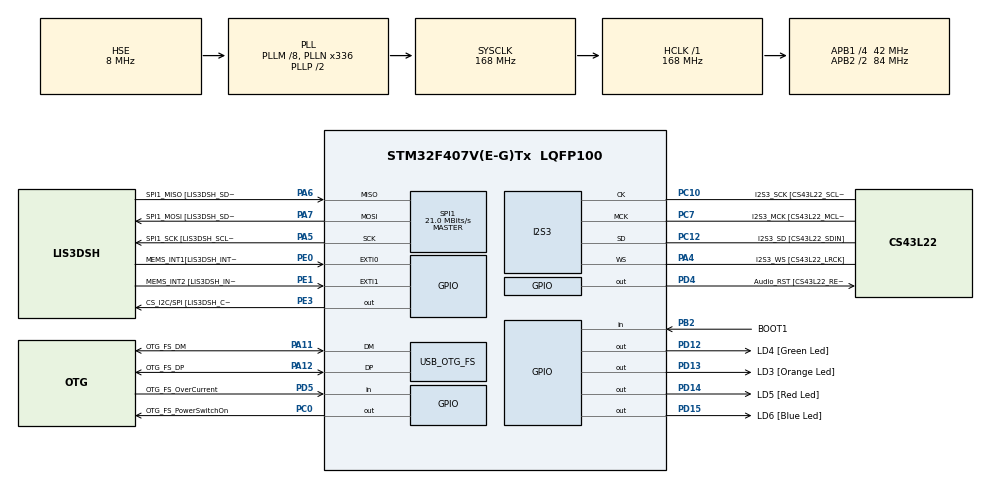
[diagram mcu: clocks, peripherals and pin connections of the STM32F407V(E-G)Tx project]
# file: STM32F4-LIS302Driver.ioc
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I2S3.AudioFreq-Half_Duplex_Master=I2S_AUDIOFREQ_96K
I2S3.ErrorAudioFreq=-2.34 %
I2S3.ErrorAudioFreq-Half_Duplex_Master=0.8 %
I2S3.FullDuplexMode=I2S_FULLDUPLEXMODE_DISABLE
I2S3.Instance=SPI$Index
I2S3.RealAudioFreq=93.75 KHz
I2S3.RealAudioFreq-Half_Duplex_Master=96.774 KHz
I2S3.VirtualMode=I2S_MODE_MASTER
Mcu.Family=STM32F4
Mcu.Name=STM32F407V(E-G)Tx
Mcu.Package=LQFP100
NVIC.PriorityGroup=NVIC_PRIORITYGROUP_0
NVIC.SPI1_IRQn=true\:0\:0\:false\:false\:true\:true\:true\:true
PA10.GPIO_Label=OTG_FS_ID
PA10.GPIO_Mode=GPIO_MODE_AF_PP
PA10.GPIO_PuPd=GPIO_NOPULL
PA10.GPIO_Speed=GPIO_SPEED_FREQ_LOW
PA10.Signal=USB_OTG_FS_ID
PA11.GPIO_Label=OTG_FS_DM
PA11.GPIO_Mode=GPIO_MODE_AF_PP
PA11.GPIO_PuPd=GPIO_NOPULL
PA11.GPIO_Speed=GPIO_SPEED_FREQ_LOW
PA11.Mode=Host_Only
PA11.Signal=USB_OTG_FS_DM
PA12.GPIO_Label=OTG_FS_DP
PA12.GPIO_Mode=GPIO_MODE_AF_PP
PA12.GPIO_PuPd=GPIO_NOPULL
PA12.GPIO_Speed=GPIO_SPEED_FREQ_LOW
PA12.Mode=Host_Only
PA12.Signal=USB_OTG_FS_DP
PA13.GPIO_Label=SWDIO
PA13.Mode=Serial_Wire
PA13.Signal=SYS_JTMS-SWDIO
PA14.GPIO_Label=SWCLK
PA14.Mode=Serial_Wire
PA14.Signal=SYS_JTCK-SWCLK
PA4.GPIO_Label=I2S3_WS [CS43L22_LRCK]
PA4.GPIO_Mode=GPIO_MODE_AF_PP
PA4.GPIO_PuPd=GPIO_NOPULL
PA4.GPIO_Speed=GPIO_SPEED_FREQ_LOW
PA4.Mode=Half_Duplex_Master
PA4.Signal=I2S3_WS
PA5.GPIO_Label=SPI1_SCK [LIS3DSH_SCL/SPC]
PA5.GPIO_Mode=GPIO_MODE_AF_PP
PA5.GPIO_PuPd=GPIO_NOPULL
PA5.GPIO_Speed=GPIO_SPEED_FREQ_LOW
PA5.Mode=Full_Duplex_Master
PA5.Signal=SPI1_SCK
PA6.GPIO_Label=SPI1_MISO [LIS3DSH_SDO]
PA6.GPIO_Mode=GPIO_MODE_AF_PP
PA6.GPIO_PuPd=GPIO_NOPULL
PA6.GPIO_Speed=GPIO_SPEED_FREQ_LOW
PA6.Mode=Full_Duplex_Master
PA6.Signal=SPI1_MISO
PA7.GPIO_Label=SPI1_MOSI [LIS3DSH_SDA/SDI/SDO]
PA7.GPIO_Mode=GPIO_MODE_AF_PP
PA7.GPIO_PuPd=GPIO_NOPULL
PA7.GPIO_Speed=GPIO_SPEED_FREQ_LOW
PA7.Mode=Full_Duplex_Master
PA7.Signal=SPI1_MOSI
PA9.GPIO_Label=VBUS_FS
PA9.GPIO_Mode=GPIO_MODE_INPUT
PA9.GPIO_PuPd=GPIO_NOPULL
PA9.Signal=USB_OTG_FS_VBUS
PB10.GPIO_Label=CLK_IN [MP45DT02_CLK]
PB10.GPIO_Mode=GPIO_MODE_AF_PP
PB10.GPIO_PuPd=GPIO_NOPULL
PB10.GPIO_Speed=GPIO_SPEED_FREQ_LOW
PB10.Signal=I2S2_CK
PB2.GPIO_Label=BOOT1
PB2.GPIO_Mode=GPIO_MODE_INPUT
PB2.GPIO_PuPd=GPIO_NOPULL
PB2.Signal=GPIO_Input
PB3.GPIO_Label=SWO
PB3.Signal=SYS_JTDO-SWO
PB6.GPIO_Mode=GPIO_MODE_AF_OD
PB6.GPIO_Pu=GPIO_NOPULL
PB6.GPIO_PuPd=GPIO_NOPULL
PB6.GPIO_Speed=GPIO_SPEED_FREQ_VERY_HIGH
PB6.Signal=I2C1_SCL
PB9.GPIO_Mode=GPIO_MODE_AF_OD
PB9.GPIO_Pu=GPIO_NOPULL
PB9.GPIO_PuPd=GPIO_NOPULL
PB9.GPIO_Speed=GPIO_SPEED_FREQ_VERY_HIGH
PB9.Signal=I2C1_SDA
PC0.GPIO_Label=OTG_FS_PowerSwitchOn
PC0.GPIO_PuPd=GPIO_NOPULL
PC0.GPIO_Speed=GPIO_SPEED_FREQ_LOW
PC0.PinState=GPIO_PIN_SET
PC0.Signal=GPIO_Output
PC10.GPIO_Label=I2S3_SCK [CS43L22_SCLK]
PC10.GPIO_Mode=GPIO_MODE_AF_PP
PC10.GPIO_PuPd=GPIO_NOPULL
PC10.GPIO_Speed=GPIO_SPEED_FREQ_LOW
PC10.Mode=Half_Duplex_Master
PC10.Signal=I2S3_CK
PC12.GPIO_Label=I2S3_SD [CS43L22_SDIN]
PC12.GPIO_Mode=GPIO_MODE_AF_PP
PC12.GPIO_PuPd=GPIO_NOPULL
PC12.GPIO_Speed=GPIO_SPEED_FREQ_LOW
PC12.Mode=Half_Duplex_Master
PC12.Signal=I2S3_SD
PC14-OSC32_IN.GPIO_Label=PC14-OSC32_IN
PC14-OSC32_IN.Mode=LSE-External-Oscillator
PC14-OSC32_IN.Signal=RCC_OSC32_IN
PC15-OSC32_OUT.GPIO_Label=PC15-OSC32_OUT
PC15-OSC32_OUT.Mode=LSE-External-Oscillator
PC15-OSC32_OUT.Signal=RCC_OSC32_OUT
PC3.GPIO_Label=PDM_OUT [MP45DT02_DOUT]
PC3.GPIO_Mode=GPIO_MODE_AF_PP
PC3.GPIO_PuPd=GPIO_NOPULL
PC3.GPIO_Speed=GPIO_SPEED_FREQ_LOW
PC3.Signal=I2S2_SD
PC7.GPIO_Label=I2S3_MCK [CS43L22_MCLK]
PC7.GPIO_Mode=GPIO_MODE_AF_PP
PC7.GPIO_PuPd=GPIO_NOPULL
PC7.GPIO_Speed=GPIO_SPEED_FREQ_LOW
PC7.Mode=Master_Clock_Activated
PC7.Signal=I2S3_MCK
PD12.GPIO_Label=LD4 [Green Led]
PD12.GPIO_PuPd=GPIO_NOPULL
PD12.GPIO_Speed=GPIO_SPEED_FREQ_LOW
PD12.Signal=GPIO_Output
PD13.GPIO_Label=LD3 [Orange Led]
PD13.GPIO_PuPd=GPIO_NOPULL
PD13.GPIO_Speed=GPIO_SPEED_FREQ_LOW
PD13.Signal=GPIO_Output
PD14.GPIO_Label=LD5 [Red Led]
PD14.GPIO_PuPd=GPIO_NOPULL
PD14.GPIO_Speed=GPIO_SPEED_FREQ_LOW
PD14.Signal=GPIO_Output
PD15.GPIO_Label=LD6 [Blue Led]
PD15.GPIO_PuPd=GPIO_NOPULL
PD15.GPIO_Speed=GPIO_SPEED_FREQ_LOW
PD15.Signal=GPIO_Output
PD4.GPIO_Label=Audio_RST [CS43L22_RESET]
PD4.GPIO_PuPd=GPIO_NOPULL
PD4.GPIO_Speed=GPIO_SPEED_FREQ_LOW
PD4.Signal=GPIO_Output
PD5.GPIO_Label=OTG_FS_OverCurrent
PD5.GPIO_Mode=GPIO_MODE_INPUT
PD5.GPIO_PuPd=GPIO_NOPULL
PD5.Signal=GPIO_Input
PE0.GPIO_Label=MEMS_INT1[LIS3DSH_INT1]
PE0.Signal=GPXTI0
PE1.GPIO_Label=MEMS_INT2 [LIS3DSH_INT2]
PE1.GPIO_ModeDefaultEXTI=GPIO_MODE_EVT_RISING
PE1.GPIO_PuPd=GPIO_NOPULL
PE1.Signal=GPXTI1
PE3.GPIO_Label=CS_I2C/SPI [LIS3DSH_CS_I2C/SPI]
PE3.GPIO_PuPd=GPIO_NOPULL
PE3.GPIO_Speed=GPIO_SPEED_FREQ_LOW
PE3.Signal=GPIO_Output
PH0-OSC_IN.GPIO_Label=PH0-OSC_IN
PH0-OSC_IN.Mode=HSE-External-Oscillator
PH0-OSC_IN.Signal=RCC_OSC_IN
PH1-OSC_OUT.GPIO_Label=PH1-OSC_OUT
PH1-OSC_OUT.Mode=HSE-External-Oscillator
PH1-OSC_OUT.Signal=RCC_OSC_OUT
ProjectManager.HeapSize=0x200
ProjectManager.StackSize=0x400
ProjectManager.TargetToolchain=STM32CubeIDE
RCC.48MHZClocksFreq_Value=48000000
RCC.AHBFreq_Value=168000000
RCC.APB1CLKDivider=RCC_HCLK_DIV4
RCC.APB1Freq_Value=42000000
RCC.APB1TimFreq_Value=84000000
RCC.APB2CLKDivider=RCC_HCLK_DIV2
RCC.APB2Freq_Value=84000000
RCC.APB2TimFreq_Value=168000000
RCC.CortexFreq_Value=168000000
RCC.HCLKFreq_Value=168000000
RCC.HSE_VALUE=8000000
RCC.HSI_VALUE=16000000
RCC.PLLM=8
RCC.PLLN=336
RCC.PLLQ=7
RCC.SYSCLKFreq_VALUE=168000000
RCC.SYSCLKSource=RCC_SYSCLKSOURCE_PLLCLK
RCC.VCOOutputFreq_Value=336000000
SPI1.BaudRatePrescaler=SPI_BAUDRATEPRESCALER_4
SPI1.BaudRatePrescaler-Full_Duplex_Master=SPI_BAUDRATEPRESCALER_2
SPI1.CalculateBaudRate=21.0 MBits/s
SPI1.CalculateBaudRate-Full_Duplex_Master=42.0 MBits/s
SPI1.Direction=SPI_DIRECTION_2LINES
SPI1.Mode=SPI_MODE_MASTER
SPI1.Mode-Full_Duplex_Master=SPI_MODE_MASTER
SPI1.VirtualType=VM_MASTER
USB_OTG_FS.VirtualMode=Host_Only
USB_OTG_FS.phy_itface=HCD_PHY_EMBEDDED
board=STM32F407G-DISC1

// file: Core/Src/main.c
/* USER CODE BEGIN Header */
/**
  ******************************************************************************
  * @file           : main.c
  * @brief          : Main program body
  ******************************************************************************
  * @attention
  *
  * Copyright (c) 2024 STMicroelectronics.
  * All rights reserved.
  *
  * This software is licensed under terms that can be found in the LICENSE file
  * in the root directory of this software component.
  * If no LICENSE file comes with this software, it is provided AS-IS.
  *
  ******************************************************************************
  */
/* USER CODE END Header */
#include "main.h"

/* USER CODE BEGIN Includes */
#include"lis302.h"

/* USER CODE END Includes */

I2S_HandleTypeDef hi2s3;

SPI_HandleTypeDef hspi1;

HCD_HandleTypeDef hhcd_USB_OTG_FS;

/* USER CODE BEGIN PV */
extern LIS3DSH_RESULTS_T results;

/* USER CODE END PV */

void SystemClock_Config(void);
static void MX_GPIO_Init(void);
static void MX_I2S3_Init(void);
static void MX_SPI1_Init(void);
static void MX_USB_OTG_FS_HCD_Init(void);

int main(void)
{

  /* MCU Configuration--------------------------------------------------------*/

  /* Reset of all peripherals, Initializes the Flash interface and the Systick. */
     HAL_Init();

  /* Configure the system clock */
  SystemClock_Config();

  /* Initialize all configured peripherals */
  MX_GPIO_Init();
  MX_I2S3_Init();
  MX_SPI1_Init();
  MX_USB_OTG_FS_HCD_Init();
  /* USER CODE BEGIN 2 */

  HAL_GPIO_WritePin(CS_I2C_SPI_GPIO_Port, CS_I2C_SPI_Pin, GPIO_PIN_SET);
  HAL_Delay(1000);
  LIS3DSH_Init();

  LIS3DSH_Reg_Set_Ctrl3(INT1_DATA_READY_SIGNAL_ENABLE, INT_SIGNAL_ACTIVE_HIGH, INT_SIGNAL_PULSE, INT2_DISABLE, INT1_ENABLE, VECTOR_FILT_DISABLE, SOFT_RESET_DISABLE);
  LIS3DSH_Reg_Set_Ctrl4(DATARATE_HZ_3,DATA_CONT_UPDATE , AXIS_X_ENABLE, AXIS_Y_ENABLE, AXIS_Z_ENABLE);
  LIS3DSH_Reg_Set_Ctrl5(ANTIALIASING_FILTER_BANDWIDTH_HZ_800, SCALE_SELECT_4G,NORMAL_MODE , SPI_INTERFACE_4WIRE);
  LIS3DSH_Reg_Set_Ctrl6(BOOT_DISABLE, FIFO_DISABLE, FIFO_WATERMARK_LEVEL_DISABLE, REG_ADDR_AUTO_INCREMENT_DISABLE, FIFO_EMPTY_INDICATION_DISABLE, FIFO_WATERMARK_INT_DISABLE, FIFO_OVERRUN_INT_DISABLE, BOOT_INT_DISABLE);

  /* USER CODE END 2 */

  /* Infinite loop */
  while (1)
  {

    /* USER CODE BEGIN 3 */

   LIS3DSH_Read_Accmeter_Data();
   LIS3DSH_Read_Temperature_Data();
   if(results.axis[AXIS_X].mg >= 350){
	   if(results.axis[AXIS_X].sign == 1){
		   HAL_GPIO_WritePin(LD5_GPIO_Port, LD5_Pin, GPIO_PIN_SET);
		   HAL_GPIO_WritePin(LD4_GPIO_Port, LD4_Pin, GPIO_PIN_RESET);
	   }else{
		   HAL_GPIO_WritePin(LD4_GPIO_Port, LD4_Pin, GPIO_PIN_SET);
		   HAL_GPIO_WritePin(LD5_GPIO_Port, LD5_Pin, GPIO_PIN_RESET);
	   }
   }else{
	   HAL_GPIO_WritePin(LD5_GPIO_Port, LD5_Pin, GPIO_PIN_RESET);
	   HAL_GPIO_WritePin(LD4_GPIO_Port, LD4_Pin, GPIO_PIN_RESET);
   }

   if(results.axis[AXIS_Y].mg >= 350){
   	   if(results.axis[AXIS_Y].sign == 1){
   		   HAL_GPIO_WritePin(LD3_GPIO_Port, LD3_Pin, GPIO_PIN_SET);
   		   HAL_GPIO_WritePin(LD6_GPIO_Port, LD6_Pin, GPIO_PIN_RESET);
   	   }else{
   		   HAL_GPIO_WritePin(LD6_GPIO_Port, LD6_Pin, GPIO_PIN_SET);
   		   HAL_GPIO_WritePin(LD3_GPIO_Port, LD3_Pin, GPIO_PIN_RESET);
   	   }
   }else{
   	   HAL_GPIO_WritePin(LD3_GPIO_Port, LD3_Pin, GPIO_PIN_RESET);
   	   HAL_GPIO_WritePin(LD6_GPIO_Port, LD6_Pin, GPIO_PIN_RESET);
   }

  }
  /* USER CODE END 3 */
}

void SystemClock_Config(void)
{
  RCC_OscInitTypeDef RCC_OscInitStruct = {0};
  RCC_ClkInitTypeDef RCC_ClkInitStruct = {0};

  /** Configure the main internal regulator output voltage
  */
  __HAL_RCC_PWR_CLK_ENABLE();
  __HAL_PWR_VOLTAGESCALING_CONFIG(PWR_REGULATOR_VOLTAGE_SCALE1);

  /** Initializes the RCC Oscillators according to the specified parameters
  * in the RCC_OscInitTypeDef structure.
  */
  RCC_OscInitStruct.OscillatorType = RCC_OSCILLATORTYPE_HSE;
  RCC_OscInitStruct.HSEState = RCC_HSE_ON;
  RCC_OscInitStruct.PLL.PLLState = RCC_PLL_ON;
  RCC_OscInitStruct.PLL.PLLSource = RCC_PLLSOURCE_HSE;
  RCC_OscInitStruct.PLL.PLLM = 8;
  RCC_OscInitStruct.PLL.PLLN = 336;
  RCC_OscInitStruct.PLL.PLLP = RCC_PLLP_DIV2;
  RCC_OscInitStruct.PLL.PLLQ = 7;
  if (HAL_RCC_OscConfig(&RCC_OscInitStruct) != HAL_OK)
  {
    Error_Handler();
  }

  /** Initializes the CPU, AHB and APB buses clocks
  */
  RCC_ClkInitStruct.ClockType = RCC_CLOCKTYPE_HCLK|RCC_CLOCKTYPE_SYSCLK
                              |RCC_CLOCKTYPE_PCLK1|RCC_CLOCKTYPE_PCLK2;
  RCC_ClkInitStruct.SYSCLKSource = RCC_SYSCLKSOURCE_PLLCLK;
  RCC_ClkInitStruct.AHBCLKDivider = RCC_SYSCLK_DIV1;
  RCC_ClkInitStruct.APB1CLKDivider = RCC_HCLK_DIV4;
  RCC_ClkInitStruct.APB2CLKDivider = RCC_HCLK_DIV2;

  if (HAL_RCC_ClockConfig(&RCC_ClkInitStruct, FLASH_LATENCY_5) != HAL_OK)
  {
    Error_Handler();
  }
}

static void MX_I2S3_Init(void)
{

  hi2s3.Instance = SPI3;
  hi2s3.Init.Mode = I2S_MODE_MASTER_TX;
  hi2s3.Init.Standard = I2S_STANDARD_PHILIPS;
  hi2s3.Init.DataFormat = I2S_DATAFORMAT_16B;
  hi2s3.Init.MCLKOutput = I2S_MCLKOUTPUT_ENABLE;
  hi2s3.Init.AudioFreq = I2S_AUDIOFREQ_96K;
  hi2s3.Init.CPOL = I2S_CPOL_LOW;
  hi2s3.Init.ClockSource = I2S_CLOCK_PLL;
  hi2s3.Init.FullDuplexMode = I2S_FULLDUPLEXMODE_DISABLE;
  if (HAL_I2S_Init(&hi2s3) != HAL_OK)
  {
    Error_Handler();
  }

}

static void MX_SPI1_Init(void)
{

  /* SPI1 parameter configuration*/
  hspi1.Instance = SPI1;
  hspi1.Init.Mode = SPI_MODE_MASTER;
  hspi1.Init.Direction = SPI_DIRECTION_2LINES;
  hspi1.Init.DataSize = SPI_DATASIZE_8BIT;
  hspi1.Init.CLKPolarity = SPI_POLARITY_LOW;
  hspi1.Init.CLKPhase = SPI_PHASE_1EDGE;
  hspi1.Init.NSS = SPI_NSS_SOFT;
  hspi1.Init.BaudRatePrescaler = SPI_BAUDRATEPRESCALER_4;
  hspi1.Init.FirstBit = SPI_FIRSTBIT_MSB;
  hspi1.Init.TIMode = SPI_TIMODE_DISABLE;
  hspi1.Init.CRCCalculation = SPI_CRCCALCULATION_DISABLE;
  hspi1.Init.CRCPolynomial = 10;
  if (HAL_SPI_Init(&hspi1) != HAL_OK)
  {
    Error_Handler();
  }
  /* USER CODE BEGIN SPI1_Init 2 */
//  SPI_Init(&SPI_1, 1, CS_I2C_SPI_GPIO_Port, CS_I2C_SPI_Pin);
  /* USER CODE END SPI1_Init 2 */

}

static void MX_USB_OTG_FS_HCD_Init(void)
{

  hhcd_USB_OTG_FS.Instance = USB_OTG_FS;
  hhcd_USB_OTG_FS.Init.Host_channels = 8;
  hhcd_USB_OTG_FS.Init.speed = HCD_SPEED_FULL;
  hhcd_USB_OTG_FS.Init.dma_enable = DISABLE;
  hhcd_USB_OTG_FS.Init.phy_itface = HCD_PHY_EMBEDDED;
  hhcd_USB_OTG_FS.Init.Sof_enable = DISABLE;
  if (HAL_HCD_Init(&hhcd_USB_OTG_FS) != HAL_OK)
  {
    Error_Handler();
  }

}

static void MX_GPIO_Init(void)
{
  GPIO_InitTypeDef GPIO_InitStruct = {0};

  /* GPIO Ports Clock Enable */
  __HAL_RCC_GPIOE_CLK_ENABLE();
  __HAL_RCC_GPIOC_CLK_ENABLE();
  __HAL_RCC_GPIOH_CLK_ENABLE();
  __HAL_RCC_GPIOA_CLK_ENABLE();
  __HAL_RCC_GPIOB_CLK_ENABLE();
  __HAL_RCC_GPIOD_CLK_ENABLE();

  /*Configure GPIO pin Output Level */
  HAL_GPIO_WritePin(CS_I2C_SPI_GPIO_Port, CS_I2C_SPI_Pin, GPIO_PIN_RESET);

  /*Configure GPIO pin Output Level */
  HAL_GPIO_WritePin(OTG_FS_PowerSwitchOn_GPIO_Port, OTG_FS_PowerSwitchOn_Pin, GPIO_PIN_SET);

  /*Configure GPIO pin Output Level */
  HAL_GPIO_WritePin(GPIOD, LD4_Pin|LD3_Pin|LD5_Pin|LD6_Pin
                          |Audio_RST_Pin, GPIO_PIN_RESET);

  /*Configure GPIO pin : CS_I2C_SPI_Pin */
  GPIO_InitStruct.Pin = CS_I2C_SPI_Pin;
  GPIO_InitStruct.Mode = GPIO_MODE_OUTPUT_PP;
  GPIO_InitStruct.Pull = GPIO_NOPULL;
  GPIO_InitStruct.Speed = GPIO_SPEED_FREQ_LOW;
  HAL_GPIO_Init(CS_I2C_SPI_GPIO_Port, &GPIO_InitStruct);

  /*Configure GPIO pin : OTG_FS_PowerSwitchOn_Pin */
  GPIO_InitStruct.Pin = OTG_FS_PowerSwitchOn_Pin;
  GPIO_InitStruct.Mode = GPIO_MODE_OUTPUT_PP;
  GPIO_InitStruct.Pull = GPIO_NOPULL;
  GPIO_InitStruct.Speed = GPIO_SPEED_FREQ_LOW;
  HAL_GPIO_Init(OTG_FS_PowerSwitchOn_GPIO_Port, &GPIO_InitStruct);

  /*Configure GPIO pin : PDM_OUT_Pin */
  GPIO_InitStruct.Pin = PDM_OUT_Pin;
  GPIO_InitStruct.Mode = GPIO_MODE_AF_PP;
  GPIO_InitStruct.Pull = GPIO_NOPULL;
  GPIO_InitStruct.Speed = GPIO_SPEED_FREQ_LOW;
  GPIO_InitStruct.Alternate = GPIO_AF5_SPI2;
  HAL_GPIO_Init(PDM_OUT_GPIO_Port, &GPIO_InitStruct);

  /*Configure GPIO pin : BOOT1_Pin */
  GPIO_InitStruct.Pin = BOOT1_Pin;
  GPIO_InitStruct.Mode = GPIO_MODE_INPUT;
  GPIO_InitStruct.Pull = GPIO_NOPULL;
  HAL_GPIO_Init(BOOT1_GPIO_Port, &GPIO_InitStruct);

  /*Configure GPIO pin : CLK_IN_Pin */
  GPIO_InitStruct.Pin = CLK_IN_Pin;
  GPIO_InitStruct.Mode = GPIO_MODE_AF_PP;
  GPIO_InitStruct.Pull = GPIO_NOPULL;
  GPIO_InitStruct.Speed = GPIO_SPEED_FREQ_LOW;
  GPIO_InitStruct.Alternate = GPIO_AF5_SPI2;
  HAL_GPIO_Init(CLK_IN_GPIO_Port, &GPIO_InitStruct);

  /*Configure GPIO pins : LD4_Pin LD3_Pin LD5_Pin LD6_Pin
                           Audio_RST_Pin */
  GPIO_InitStruct.Pin = LD4_Pin|LD3_Pin|LD5_Pin|LD6_Pin
                          |Audio_RST_Pin;
  GPIO_InitStruct.Mode = GPIO_MODE_OUTPUT_PP;
  GPIO_InitStruct.Pull = GPIO_NOPULL;
  GPIO_InitStruct.Speed = GPIO_SPEED_FREQ_LOW;
  HAL_GPIO_Init(GPIOD, &GPIO_InitStruct);

  /*Configure GPIO pin : OTG_FS_OverCurrent_Pin */
  GPIO_InitStruct.Pin = OTG_FS_OverCurrent_Pin;
  GPIO_InitStruct.Mode = GPIO_MODE_INPUT;
  GPIO_InitStruct.Pull = GPIO_NOPULL;
  HAL_GPIO_Init(OTG_FS_OverCurrent_GPIO_Port, &GPIO_InitStruct);

  /*Configure GPIO pins : PB6 PB9 */
  GPIO_InitStruct.Pin = GPIO_PIN_6|GPIO_PIN_9;
  GPIO_InitStruct.Mode = GPIO_MODE_AF_OD;
  GPIO_InitStruct.Pull = GPIO_NOPULL;
  GPIO_InitStruct.Speed = GPIO_SPEED_FREQ_VERY_HIGH;
  GPIO_InitStruct.Alternate = GPIO_AF4_I2C1;
  HAL_GPIO_Init(GPIOB, &GPIO_InitStruct);

  /*Configure GPIO pin : MEMS_INT1_Pin */
  GPIO_InitStruct.Pin = MEMS_INT1_Pin;
  GPIO_InitStruct.Mode = GPIO_MODE_IT_RISING;
  GPIO_InitStruct.Pull = GPIO_NOPULL;
  HAL_GPIO_Init(MEMS_INT1_GPIO_Port, &GPIO_InitStruct);

  /*Configure GPIO pin : MEMS_INT2_Pin */
  GPIO_InitStruct.Pin = MEMS_INT2_Pin;
  GPIO_InitStruct.Mode = GPIO_MODE_EVT_RISING;
  GPIO_InitStruct.Pull = GPIO_NOPULL;
  HAL_GPIO_Init(MEMS_INT2_GPIO_Port, &GPIO_InitStruct);

}

void Error_Handler(void)
{
  __disable_irq();
  while (1)
  {
  }
}
